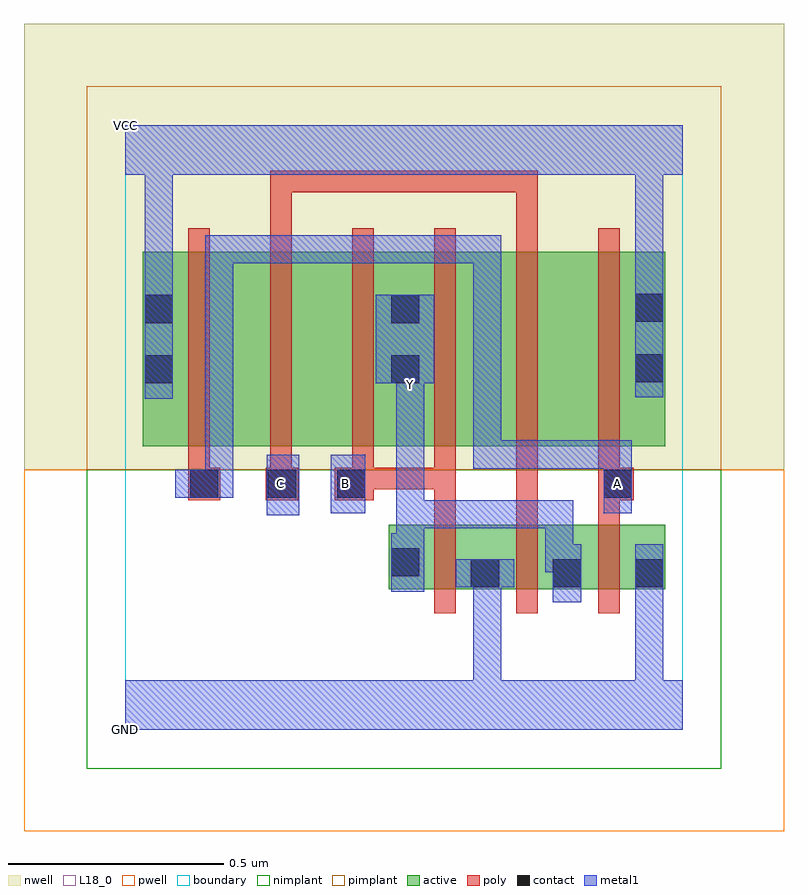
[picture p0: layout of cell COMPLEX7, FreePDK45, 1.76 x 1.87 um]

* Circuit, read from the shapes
.subckt COMPLEX7 A B C GND VCC Y
M1 GND B Y VSUBS nfet w=0.15u l=0.05u
M2 Y C GND VSUBS nfet w=0.15u l=0.05u
M3 GND A Y VSUBS nfet w=0.15u l=0.05u
M4 n1 A VCC n2 pfet w=0.45u l=0.05u
M5 n3 C n1 n2 pfet w=0.45u l=0.05u
M6 Y B n3 n2 pfet w=0.45u l=0.05u
M7 n4 B Y n2 pfet w=0.45u l=0.05u
M8 n5 C n4 n2 pfet w=0.45u l=0.05u
M9 VCC A n5 n2 pfet w=0.45u l=0.05u
.ends

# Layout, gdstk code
import gdstk
lib = gdstk.Library(unit=1e-6, precision=1e-09)
def R(c, l, rs):  # rectangles x0, y0, x1, y1
    for r in rs: c.add(gdstk.rectangle(r[:2], r[2:], *l))
def A(c, l, x, y, w, h, nx, ny, dx, dy):  # array of equal rectangles
    R(c, l, [(x+i*dx, y+j*dy, x+i*dx+w, y+j*dy+h) for i in range(nx) for j in range(ny)])
active = (1, 0)
pwell = (2, 0)
nwell = (3, 0)
nimplant = (4, 0)
pimplant = (5, 0)
poly = (9, 0)
contact = (10, 0)
metal1 = (11, 0)
L18_0 = (18, 0)
boundary = (235, 0)

complex7 = lib.new_cell('COMPLEX7')
R(complex7, active, [(0.61,0.325,0.87,0.475), (0.795,0.325,1.06,0.475), (0.795,0.325,0.87,0.4), (0.985,0.325,1.06,0.475), (0.985,0.325,1.25,0.475), (1.175,0.325,1.25,0.475), (0.61,0.35,0.685,0.475), (0.04,0.657,0.115,1.107), (0.04,0.657,0.265,1.107), (0.265,0.657,0.455,1.107), (0.455,0.657,0.685,1.107), (0.61,0.657,0.835,1.107), (0.61,0.657,0.685,1.07), (0.835,0.657,1.025,1.107), (1.025,0.657,1.25,1.107), (1.175,0.657,1.25,1.107)])
R(complex7, pwell, [(-0.235,-0.235,1.525,0.602)])
R(complex7, nwell, [(-0.235,0.602,1.525,1.635)])
R(complex7, nimplant, [(-0.09,-0.09,1.38,0.602)])
R(complex7, pimplant, [(-0.09,0.602,1.38,1.49)])
A(complex7, poly, 0.715, 0.27, 0.05, 0.26, 3, 1, 0.19, 0)
A(complex7, poly, 0.145, 0.557, 0.05, 0.095, 4, 1, 0.19, 0)
A(complex7, poly, 0.145, 0.602, 0.05, 0.56, 6, 1, 0.19, 0)
R(complex7, poly, [(0.715,0.48,0.765,0.607), (0.905,0.48,0.955,0.575), (1.095,0.48,1.145,0.582), (0.905,0.525,0.955,0.575), (0.905,0.525,0.955,0.652), (0.145,0.532,0.22,0.607), (0.325,0.532,0.4,0.607), (0.485,0.532,0.575,0.607), (1.095,0.532,1.177,0.607), (0.525,0.557,0.765,0.607), (0.715,0.557,0.765,0.607), (0.715,0.557,0.765,0.607), (0.715,0.557,0.765,0.607), (1.095,0.557,1.145,0.652), (0.335,1.112,0.385,1.295), (0.905,1.112,0.955,1.295), (0.335,1.245,0.385,1.295), (0.335,1.245,0.385,1.295), (0.335,1.245,0.385,1.295), (0.335,1.245,0.555,1.295), (0.505,1.245,0.555,1.295), (0.505,1.245,0.555,1.295), (0.505,1.245,0.555,1.295), (0.505,1.245,0.707,1.295), (0.657,1.245,0.707,1.295), (0.657,1.245,0.955,1.295), (0.905,1.245,0.955,1.295), (0.905,1.245,0.955,1.295), (0.905,1.245,0.955,1.295)])
A(complex7, contact, 0.8, 0.33, 0.065, 0.065, 3, 1, 0.19, 0)
R(complex7, contact, [(0.615,0.355,0.68,0.42), (0.15,0.537,0.215,0.602), (0.33,0.537,0.395,0.602), (0.49,0.537,0.555,0.602), (1.107,0.537,1.172,0.602), (0.045,0.802,0.11,0.867), (0.615,0.802,0.68,0.867), (1.18,0.805,1.245,0.87), (0.045,0.942,0.11,1.007), (0.615,0.942,0.68,1.007), (1.18,0.945,1.245,1.01)])
R(complex7, metal1, [(0,0,1.29,0.115), (0.805,0.05,0.87,0.395), (1.18,0.05,1.245,0.36), (0.99,0.295,1.055,0.43), (1.18,0.295,1.245,0.36), (1.18,0.295,1.245,0.36), (1.18,0.295,1.245,0.36), (1.18,0.295,1.245,0.36), (1.18,0.295,1.245,0.43), (0.615,0.32,0.692,0.455), (0.765,0.33,0.9,0.395), (0.805,0.33,0.87,0.395), (0.805,0.33,0.87,0.395), (0.805,0.33,0.87,0.395), (0.805,0.33,0.87,0.395), (0.972,0.365,1.055,0.43), (0.972,0.365,1.037,0.532), (0.627,0.39,0.692,0.455), (0.627,0.39,0.692,0.532), (0.627,0.39,0.692,0.797), (0.627,0.467,0.87,0.532), (0.805,0.467,0.87,0.532), (0.805,0.467,1.037,0.532), (0.327,0.497,0.402,0.637), (0.475,0.502,0.555,0.637), (1.107,0.502,1.172,0.67), (0.115,0.537,0.25,0.602), (0.185,0.537,0.25,0.602), (0.185,0.537,0.25,0.602), (0.185,0.537,0.25,1.145), (0.805,0.605,0.87,0.67), (0.805,0.605,0.87,0.67), (0.805,0.605,0.87,0.67), (0.805,0.605,1.007,0.67), (0.805,0.605,0.87,1.145), (0.942,0.605,1.007,0.67), (0.942,0.605,1.007,0.67), (0.942,0.605,1.007,0.67), (0.942,0.605,1.172,0.67), (0.627,0.732,0.692,0.867), (0.045,0.767,0.11,1.042), (1.18,0.77,1.245,1.045), (0.58,0.802,0.715,1.007), (0.627,0.802,0.692,0.867), (0.045,0.977,0.11,1.35), (1.18,0.98,1.245,1.35), (0.185,1.08,0.25,1.145), (0.185,1.08,0.387,1.145), (0.322,1.08,0.387,1.145), (0.322,1.08,0.387,1.145), (0.322,1.08,0.387,1.145), (0.322,1.08,0.387,1.145), (0.322,1.08,0.387,1.145), (0.322,1.08,0.54,1.145), (0.475,1.08,0.54,1.145), (0.475,1.08,0.54,1.145), (0.475,1.08,0.54,1.145), (0.475,1.08,0.87,1.145), (0.805,1.08,0.87,1.145), (0.805,1.08,0.87,1.145), (0.805,1.08,0.87,1.145), (0,1.285,1.29,1.4), (0.045,1.285,0.11,1.35), (0.045,1.285,0.11,1.35), (1.18,1.285,1.245,1.35), (1.18,1.285,1.245,1.35)])
R(complex7, L18_0, [(0,0,1.29,0.115), (0.805,0.05,0.87,0.395), (1.18,0.05,1.245,0.36), (0.99,0.295,1.055,0.43), (1.18,0.295,1.245,0.36), (1.18,0.295,1.245,0.36), (1.18,0.295,1.245,0.36), (1.18,0.295,1.245,0.36), (1.18,0.295,1.245,0.43), (0.615,0.32,0.692,0.455), (0.765,0.33,0.9,0.395), (0.805,0.33,0.87,0.395), (0.805,0.33,0.87,0.395), (0.805,0.33,0.87,0.395), (0.805,0.33,0.87,0.395), (0.972,0.365,1.037,0.532), (0.972,0.365,1.055,0.43), (0.627,0.39,0.692,0.455), (0.627,0.39,0.692,0.797), (0.627,0.39,0.692,0.532), (0.627,0.467,0.87,0.532), (0.805,0.467,0.87,0.532), (0.805,0.467,1.037,0.532), (0.327,0.497,0.402,0.637), (0.475,0.502,0.555,0.637), (1.107,0.502,1.172,0.67), (0.115,0.537,0.25,0.602), (0.185,0.537,0.25,0.602), (0.185,0.537,0.25,0.602), (0.185,0.537,0.25,1.145), (0.327,0.537,0.392,0.602), (0.477,0.537,0.542,0.602), (1.107,0.537,1.172,0.602), (0.805,0.605,0.87,0.67), (0.805,0.605,0.87,0.67), (0.805,0.605,0.87,0.67), (0.805,0.605,1.007,0.67), (0.805,0.605,0.87,1.145), (0.942,0.605,1.007,0.67), (0.942,0.605,1.007,0.67), (0.942,0.605,1.007,0.67), (0.942,0.605,1.172,0.67), (0.627,0.732,0.692,0.867), (0.045,0.767,0.11,1.042), (0.627,0.767,0.692,0.832), (1.18,0.77,1.245,1.045), (0.58,0.802,0.715,1.007), (0.627,0.802,0.692,0.867), (0.045,0.977,0.11,1.35), (1.18,0.98,1.245,1.35), (0.185,1.08,0.25,1.145), (0.185,1.08,0.387,1.145), (0.322,1.08,0.387,1.145), (0.322,1.08,0.387,1.145), (0.322,1.08,0.387,1.145), (0.322,1.08,0.387,1.145), (0.322,1.08,0.387,1.145), (0.322,1.08,0.54,1.145), (0.475,1.08,0.54,1.145), (0.475,1.08,0.54,1.145), (0.475,1.08,0.54,1.145), (0.475,1.08,0.87,1.145), (0.805,1.08,0.87,1.145), (0.805,1.08,0.87,1.145), (0.805,1.08,0.87,1.145), (0,1.285,1.29,1.4), (0.045,1.285,0.11,1.35), (0.045,1.285,0.11,1.35), (1.18,1.285,1.245,1.35), (1.18,1.285,1.245,1.35)])
R(complex7, boundary, [(0,0,1.29,1.4)])
complex7.add(gdstk.Label('A', (1.14,0.57), layer=11, texttype=0))
complex7.add(gdstk.Label('B', (0.51,0.57), layer=11, texttype=0))
complex7.add(gdstk.Label('C', (0.36,0.57), layer=11, texttype=0))
complex7.add(gdstk.Label('Y', (0.66,0.8), layer=11, texttype=0))
complex7.add(gdstk.Label('VCC', (0,1.4), layer=11, texttype=0))
complex7.add(gdstk.Label('GND', (0,0), layer=11, texttype=0))

lib.write_gds('COMPLEX7.gds')
